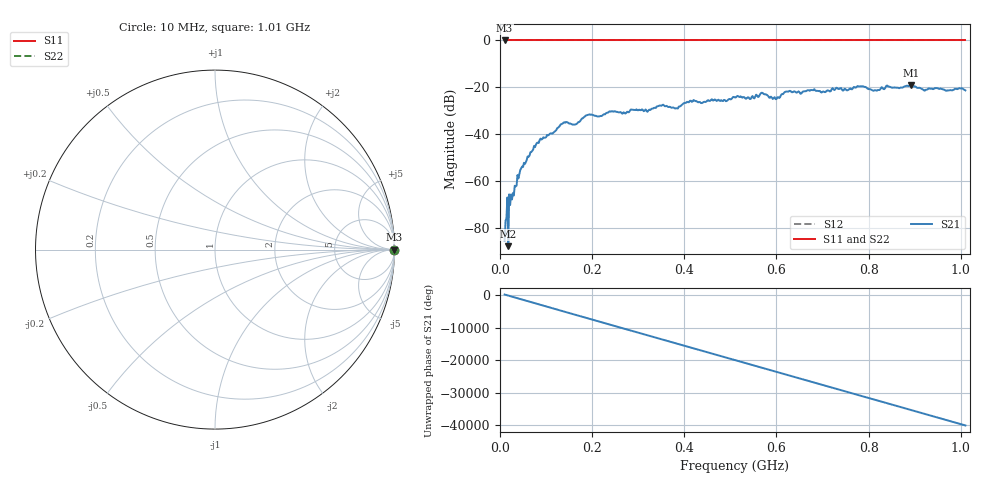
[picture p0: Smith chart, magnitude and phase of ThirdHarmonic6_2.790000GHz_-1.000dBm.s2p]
! 8/17/2025 7:12:37 AM
! C:\ANRITSUVNA\TEMP\TEMP.S2P
! CHANNEL.1
! TR.MEASUREMENT
! RAW.DATA
! RF.CORRECTION.OFF
! AVERAGING.OFF
! IF.BANDWIDTH: 5KHZ
! SWEEPTYPE:  FREQ.SWEEP(Linear)
! Reference Plane Port Info
! PORT:  PORT1  PORT2
! DISTANCE:  0  m  0  m
! TIME:  0  s  0  s
! PHASE.OFFSET:  0  deg.  0  deg.
! LOSS:  0  dB  0  dB
! REF.LOSS:  0  dB  0  dB
! REF.FREQ:  0  Hz  0  Hz
! Power Info
! POWER:  -20  dBm  -20  dBm
! EFF.POWER:  -20  dBm  -20  dBm
! SOURCE.ATTEN:  0  dB  0  dB
! TEST.ATTEN:  0  dB  0  dB
# GHZ S RI R 50.0
! FREQ.GHZ  S11RE  S11IM  S21RE  S21IM  S12RE  S12IM  S22RE  S22IM
!; PortSelection: Port_12
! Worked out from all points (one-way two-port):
!   501 points, 10 MHz to 1.01 GHz, reference 50 ohm
!   highest |S21| = -18.96 dB at 892 MHz (marker M1); lowest = -87.5 dB at 18 MHz (marker M2)
!   lowest |S11| = 0.0 dB at 10 MHz (marker M3)
!   |S11| at or under -10 dB: nowhere
!   |S22| runs from 0.0 to 0.0 dB; largest |S21 - S12| = 1.1
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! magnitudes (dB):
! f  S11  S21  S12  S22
! 10 MHz  0.0  -85.1  0.0  0.0
! 18 MHz  0.0  -87.5  0.0  0.0
! 42 MHz  0.0  -56.9  0.0  0.0
! 78 MHz  0.0  -44.3  0.0  0.0
! 136 MHz  0.0  -35.3  0.0  0.0
! 162 MHz  0.0  -35.7  0.0  0.0
! 178 MHz  0.0  -33.2  0.0  0.0
! 194 MHz  0.0  -31.5  0.0  0.0
! 344 MHz  0.0  -27.9  0.0  0.0
! 382 MHz  0.0  -28.8  0.0  0.0
! 416 MHz  0.0  -26.1  0.0  0.0
! 510 MHz  0.0  -24.2  0.0  0.0
! 570 MHz  0.0  -22.4  0.0  0.0
! 596 MHz  0.0  -24.1  0.0  0.0
! 624 MHz  0.0  -21.8  0.0  0.0
! 678 MHz  0.0  -21.1  0.0  0.0
! 780 MHz  0.0  -19.5  0.0  0.0
! 814 MHz  0.0  -21.2  0.0  0.0
! 844 MHz  0.0  -19.6  0.0  0.0
! 892 MHz  0.0  -19.0  0.0  0.0
! 922 MHz  0.0  -21.4  0.0  0.0
! 1.01 GHz  0.0  -21.2  0.0  0.0
